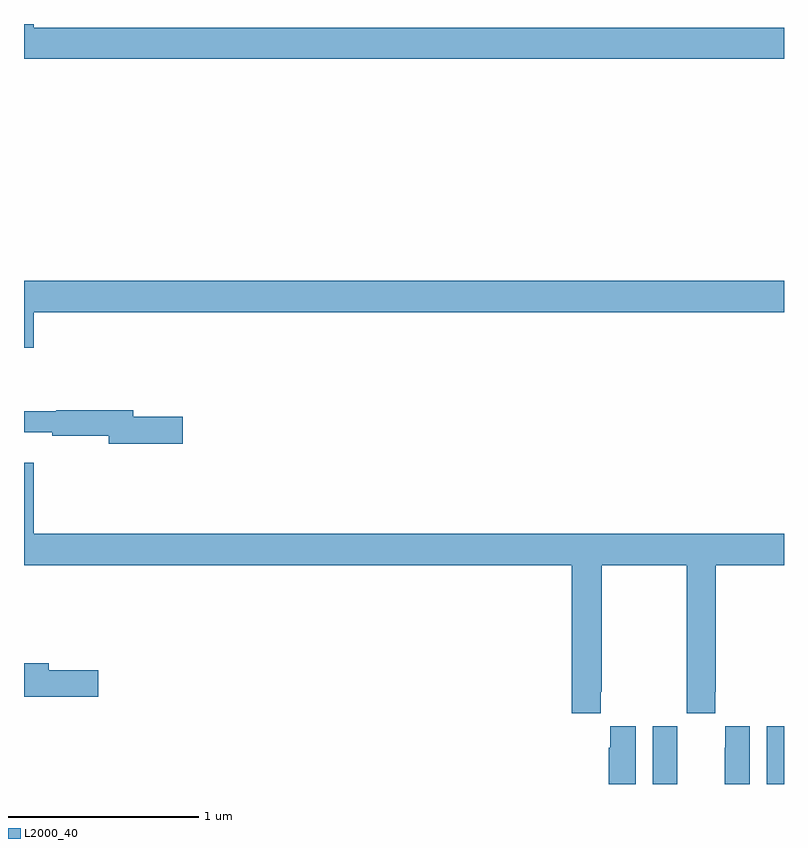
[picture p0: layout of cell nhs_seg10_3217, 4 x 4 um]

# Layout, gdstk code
import gdstk
lib = gdstk.Library(unit=1e-6, precision=1e-09)
def R(c, l, rs):  # rectangles x0, y0, x1, y1
    for r in rs: c.add(gdstk.rectangle(r[:2], r[2:], *l))
def P(c, l, *ps):  # polygons
    for p in ps: c.add(gdstk.Polygon(p, *l))
L2000_40 = (2000, 40)

nhs_seg10_3217 = lib.new_cell('nhs_seg10_3217')
R(nhs_seg10_3217, L2000_40, [(288.908,1296.5,289,1296.805)])
P(nhs_seg10_3217, L2000_40, [(289,1300.48),(285.052,1300.48),(285.052,1300.5),(285,1300.5),(285,1300.316),(289,1300.316)],
  [(285.052,1298.984),(289,1298.984),(289,1299.148),(285,1299.148),(285,1298.796),(285.052,1298.796)],
  [(285.835,1298.432),(285.574,1298.432),(285.574,1298.468),(285.17,1298.468),(285.17,1298.461),(285,1298.461),(285,1298.351),(285.148,1298.351),(285.148,1298.332),(285.446,1298.332),(285.446,1298.29),(285.835,1298.29)],
  [(288.035,1296.985),(288.042,1296.985),(288.042,1297.652),(288.487,1297.652),(288.487,1296.985),(288.489,1296.985),(288.489,1296.873),(288.639,1296.873),(288.639,1296.985),(288.642,1296.985),(288.642,1297.652),(289,1297.652),(289,1297.816),(285.052,1297.816),(285.052,1298.191),(285,1298.191),(285,1297.652),(287.882,1297.652),(287.882,1296.873),(288.035,1296.873)],
  [(285.391,1297.1),(285.13,1297.1),(285.13,1297.136),(285,1297.136),(285,1297),(285.002,1297),(285.002,1296.958),(285.391,1296.958)],
  [(288.22,1296.805),(288.086,1296.805),(288.086,1296.692),(288.077,1296.692),(288.077,1296.5),(288.22,1296.5)],
  [(288.439,1296.692),(288.438,1296.692),(288.438,1296.805),(288.308,1296.805),(288.308,1296.5),(288.439,1296.5)],
  [(288.82,1296.805),(288.69,1296.805),(288.69,1296.692),(288.689,1296.692),(288.689,1296.5),(288.82,1296.5)])

lib.write_gds('nhs_seg10_3217.gds')
